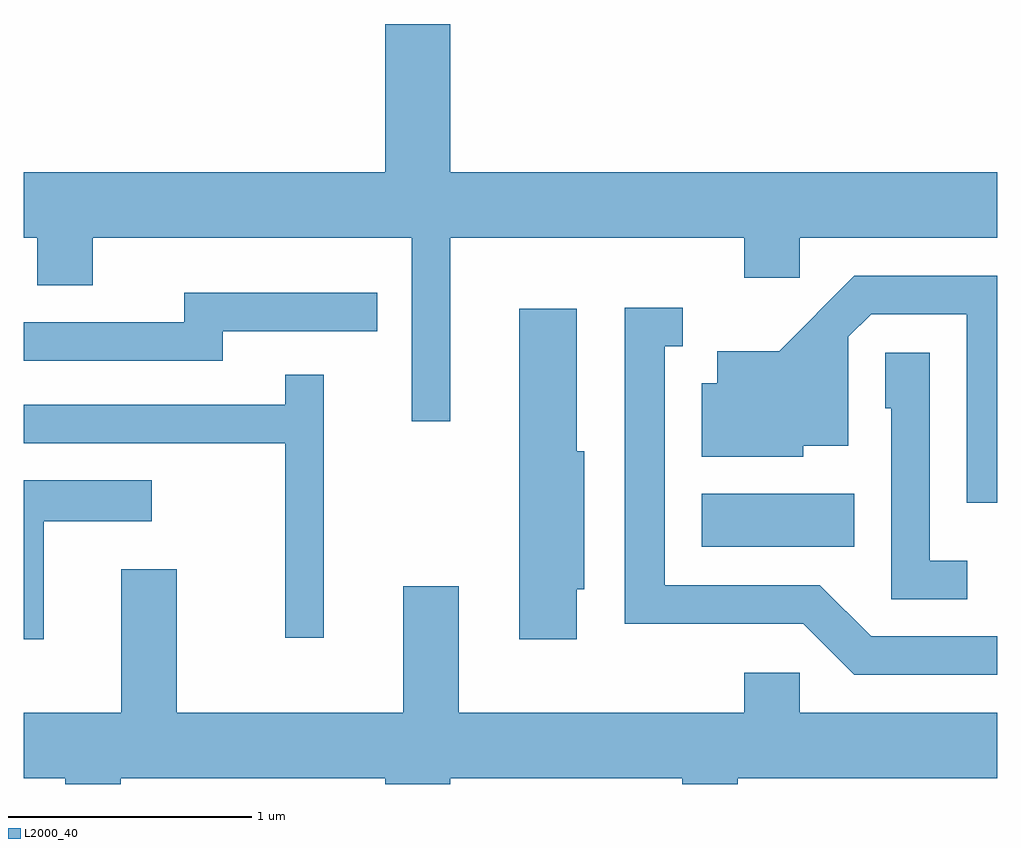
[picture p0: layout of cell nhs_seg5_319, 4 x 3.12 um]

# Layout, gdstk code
import gdstk
lib = gdstk.Library(unit=1e-6, precision=1e-09)
def R(c, l, rs):  # rectangles x0, y0, x1, y1
    for r in rs: c.add(gdstk.rectangle(r[:2], r[2:], *l))
def P(c, l, *ps):  # polygons
    for p in ps: c.add(gdstk.Polygon(p, *l))
L2000_40 = (2000, 40)

nhs_seg5_319 = lib.new_cell('nhs_seg5_319')
R(nhs_seg5_319, L2000_40, [(196.396,1491.046,197.024,1491.264)])
P(nhs_seg5_319, L2000_40, [(195.364,1492.316),(196.571,1492.316),(196.571,1492.151),(196.799,1492.151),(196.799,1492.316),(197.611,1492.316),(197.611,1492.584),(195.364,1492.584),(195.364,1493.194),(195.096,1493.194),(195.096,1492.584),(193.611,1492.584),(193.611,1492.316),(193.666,1492.316),(193.666,1492.121),(193.894,1492.121),(193.894,1492.316),(195.206,1492.316),(195.206,1491.563),(195.364,1491.563)],
  [(197.611,1492.159),(197.024,1492.159),(196.714,1491.849),(196.461,1491.849),(196.461,1491.719),(196.396,1491.719),(196.396,1491.416),(196.814,1491.416),(196.814,1491.461),(196.999,1491.461),(196.999,1491.909),(197.092,1492.001),(197.486,1492.001),(197.486,1491.228),(197.611,1491.228)],
  [(194.429,1491.931),(195.063,1491.931),(195.063,1492.089),(194.271,1492.089),(194.271,1491.969),(193.611,1491.969),(193.611,1491.811),(194.429,1491.811)],
  [(197.611,1490.679),(197.092,1490.679),(196.882,1490.889),(196.244,1490.889),(196.244,1491.871),(196.318,1491.871),(196.318,1492.029),(196.081,1492.029),(196.081,1490.731),(196.814,1490.731),(197.024,1490.521),(197.611,1490.521)],
  [(195.884,1490.871),(195.914,1490.871),(195.914,1491.439),(195.884,1491.439),(195.884,1492.024),(195.646,1492.024),(195.646,1490.666),(195.884,1490.666)],
  [(197.488,1490.989),(197.334,1490.989),(197.334,1491.844),(197.151,1491.844),(197.151,1491.616),(197.176,1491.616),(197.176,1490.831),(197.488,1490.831)],
  [(194.844,1491.753),(194.686,1491.753),(194.686,1491.629),(193.611,1491.629),(193.611,1491.471),(194.686,1491.471),(194.686,1490.673),(194.844,1490.673)],
  [(193.694,1491.151),(194.138,1491.151),(194.138,1491.319),(193.611,1491.319),(193.611,1490.666),(193.694,1490.666)],
  [(194.009,1490.096),(195.096,1490.096),(195.096,1490.072),(195.364,1490.072),(195.364,1490.096),(196.316,1490.096),(196.316,1490.072),(196.544,1490.072),(196.544,1490.096),(197.611,1490.096),(197.611,1490.364),(196.799,1490.364),(196.799,1490.529),(196.571,1490.529),(196.571,1490.364),(195.399,1490.364),(195.399,1490.884),(195.171,1490.884),(195.171,1490.364),(194.239,1490.364),(194.239,1490.954),(194.011,1490.954),(194.011,1490.364),(193.611,1490.364),(193.611,1490.096),(193.781,1490.096),(193.781,1490.072),(194.009,1490.072)])

lib.write_gds('nhs_seg5_319.gds')
